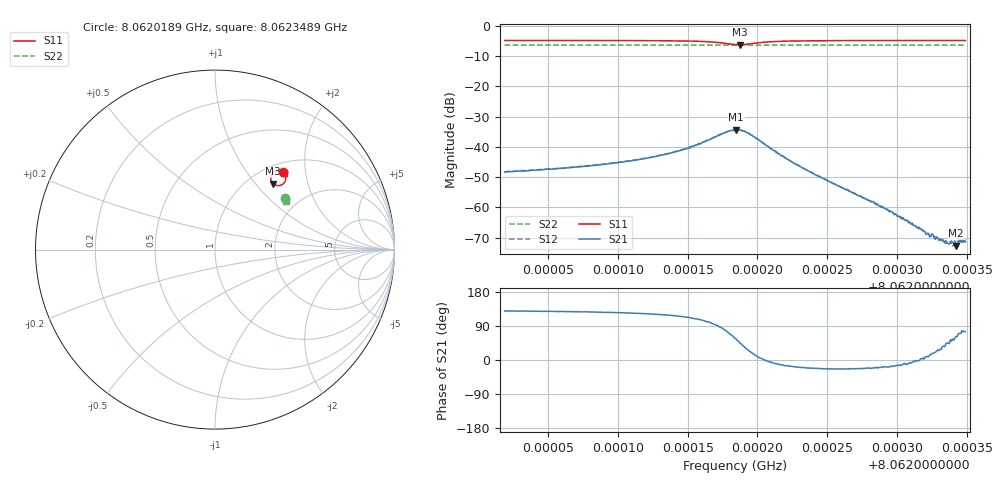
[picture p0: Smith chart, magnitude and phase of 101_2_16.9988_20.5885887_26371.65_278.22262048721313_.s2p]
#  HZ  S  RI  R  50.00
! Rohde & Schwarz Vector Network Analyzer
! Rohde-Schwarz,ZNB20-2Port,1311601062101988,3.16
! Created: UTC 3/20/2024, 10:56:38 PM
! freq[Hz]  re:S11  im:S11  re:S21  im:S21  re:S12  im:S12  re:S22  im:S22
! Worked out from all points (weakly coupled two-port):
!   401 points, 8.0620189 GHz to 8.0623489 GHz, reference 50 ohm
!   highest |S21| = -34.35 dB at 8.0621847 GHz (marker M1); lowest = -72.6 dB at 8.0623423 GHz (marker M2)
!   lowest |S11| = -6.2 dB at 8.0621872 GHz (marker M3), VSWR 2.92, Z = 64.1 + j62 ohm
!   |S11| at or under -10 dB: nowhere
!   |S22| runs from -6.4 to -6.3 dB; largest |S21 - S12| = 0.0014
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8.06201886e9  0.3779 0.4342  -0.00243 0.00296  -0.00233 0.00317  0.3872 0.2888
8.06207415e9  0.3835 0.4282  -0.00284 0.00377  -0.00268 0.00399  0.3893 0.2859
8.06210303e9  0.3872 0.4232  -0.00319 0.00459  -0.00294 0.00484  0.3901 0.2843
8.06212944e9  0.3915 0.4153  -0.00357 0.00615  -0.00325 0.00646  0.3912 0.2828
8.06215007e9  0.3945 0.4025  -0.00362 0.00873  -0.00315 0.00914  0.3917 0.2812
8.0621707e9  0.3852 0.3717  -0.000421 0.0149  0.00053 0.0151  0.3914 0.2791
8.0621839e9  0.3382 0.3589  0.0101 0.016  0.0113 0.0155  0.3896 0.2787
8.06218472e9  0.3344 0.3605  0.011 0.0157  0.0121 0.015  0.3894 0.2788
8.0621872e9  0.3236 0.3678  0.0132 0.0137  0.0141 0.0129  0.3893 0.2792
8.0621938e9  0.3106 0.3967  0.0151 0.00704  0.0157 0.00602  0.3893 0.2804
8.06220618e9  0.327 0.4318  0.0105 -0.000371  0.0106 -0.000964  0.3912 0.2809
8.06222268e9  0.349 0.4404  0.00577 -0.00165  0.00569 -0.002  0.3926 0.2803
8.06223919e9  0.3606 0.4399  0.00342 -0.00136  0.00339 -0.00157  0.3935 0.2793
8.06229447e9  0.3762 0.4339  0.000798 -0.000263  0.000822 -0.000312  0.3958 0.2763
8.06231758e9  0.3795 0.432  0.000427 2.44e-05  0.000436 -4.14e-05  0.3966 0.275
8.06232253e9  0.3802 0.4315  0.00036 5.37e-05  0.000371 8.24e-06  0.3968 0.2748
8.06233573e9  0.3816 0.4305  0.000184 0.000181  0.000208 0.00016  0.3973 0.2741
8.06233738e9  0.3818 0.4304  0.00018 0.000169  0.000195 0.000195  0.3975 0.274
8.06234151e9  0.3822 0.43  0.000148 0.000237  0.000143 0.000215  0.3975 0.2738
8.06234233e9  0.3823 0.43  0.000108 0.000207  0.00016 0.000208  0.3976 0.2738
8.06234646e9  0.3828 0.4297  5.75e-05 0.000264  7.51e-05 0.000253  0.3977 0.2735
8.06234893e9  0.383 0.4295  6.78e-05 0.000256  6.9e-05 0.000282  0.3978 0.2734
